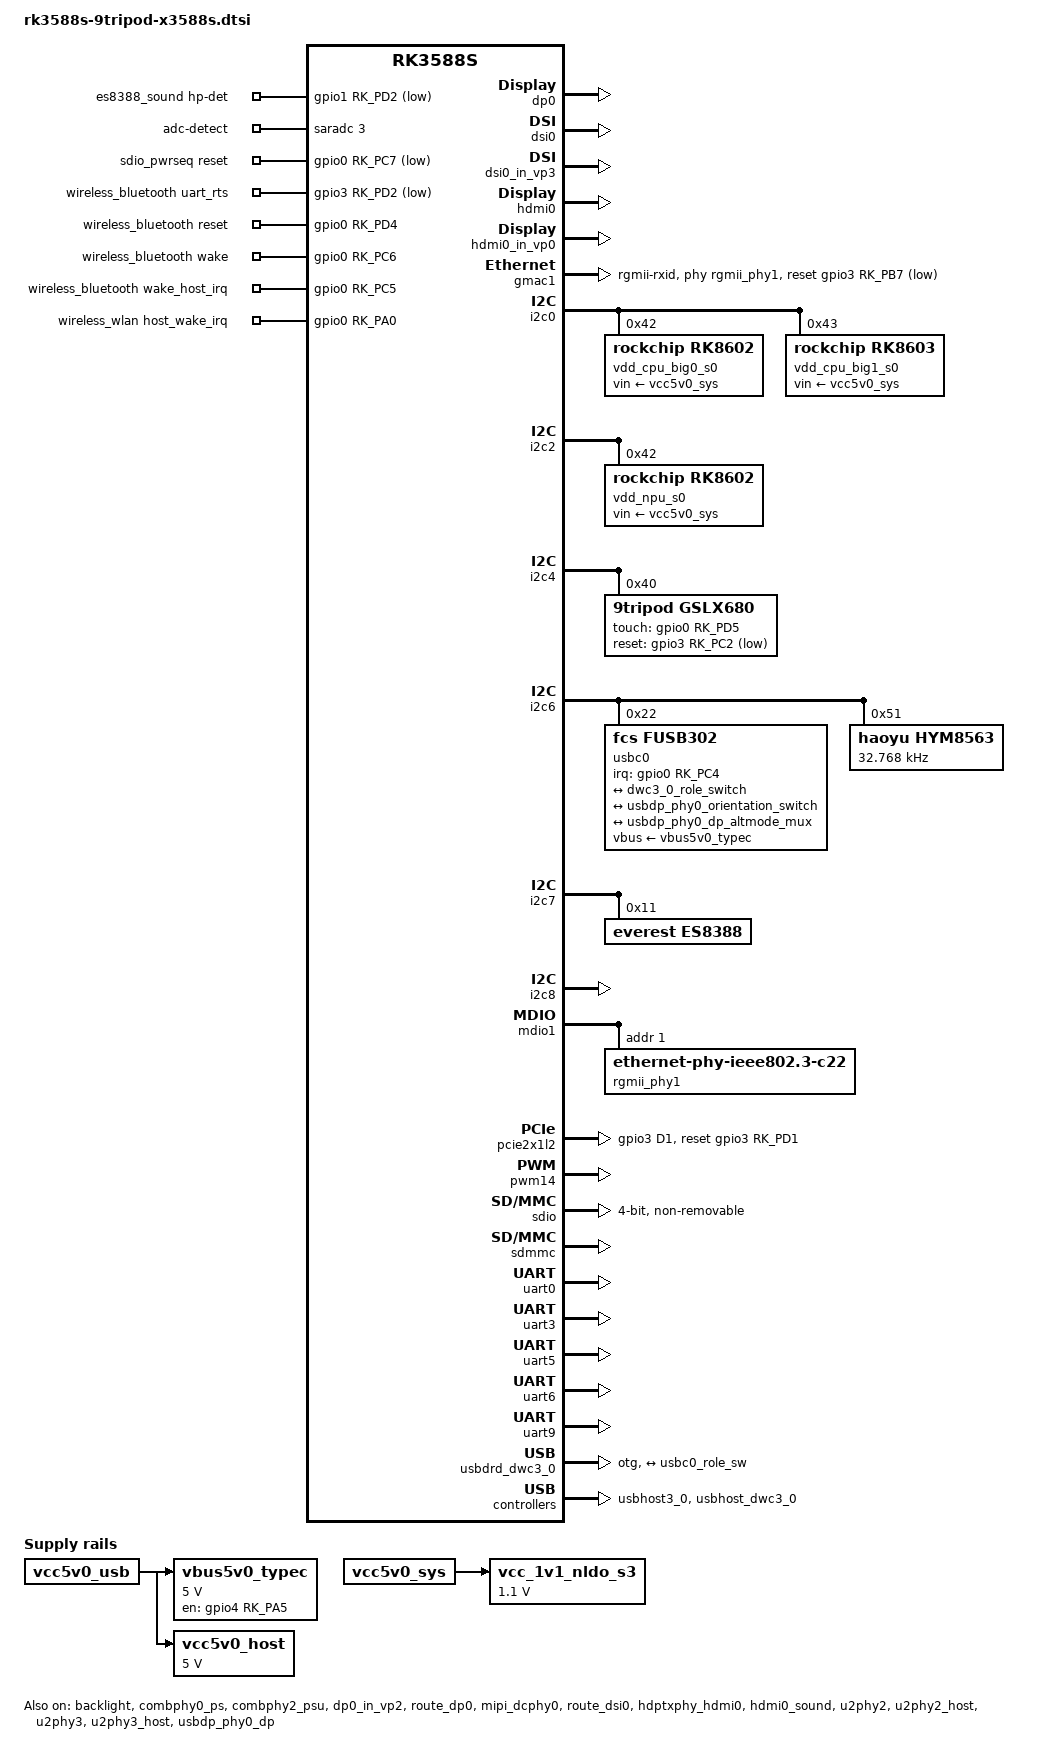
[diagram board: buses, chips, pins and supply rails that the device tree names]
// SPDX-License-Identifier: (GPL-2.0+ OR MIT)
/*
 * Copyright (c) 2021 Rockchip Electronics Co., Ltd.
 *
 */

#include "dt-bindings/usb/pd.h"
#include "rk3588s.dtsi"
#include "rk3588s-9tripod-x3588s-evb.dtsi"
#include "rk3588s-9tripod-x3588s-rk806-single.dtsi"

/ {
	es8388_sound: es8388-sound {
		status = "okay";
		compatible = "rockchip,multicodecs-card";
		rockchip,card-name = "rockchip-es8388";
		hp-det-gpio = <&gpio1 RK_PD2 GPIO_ACTIVE_LOW>;
		io-channels = <&saradc 3>;
		io-channel-names = "adc-detect";
		keyup-threshold-microvolt = <1800000>;
		poll-interval = <100>;
		//spk-con-gpio = <&gpio4 RK_PA5 GPIO_ACTIVE_HIGH>;
		//hp-con-gpio = <&gpio4 RK_PA4 GPIO_ACTIVE_HIGH>;
		rockchip,format = "i2s";
		rockchip,mclk-fs = <256>;
		rockchip,cpu = <&i2s0_8ch>;
		rockchip,codec = <&es8388>;
		rockchip,audio-routing =
			"Headphone", "LOUT1",
			"Headphone", "ROUT1",
			"Speaker", "LOUT2",
			"Speaker", "ROUT2",
			"Headphone", "Headphone Power",
			"Headphone", "Headphone Power",
			"Speaker", "Speaker Power",
			"Speaker", "Speaker Power",
			"LINPUT1", "Main Mic",
			"LINPUT2", "Main Mic",
			"RINPUT1", "Headset Mic",
			"RINPUT2", "Headset Mic";
		pinctrl-names = "default";
		pinctrl-0 = <&hp_det>;
		play-pause-key {
			label = "playpause";
			linux,code = <KEY_PLAYPAUSE>;
			press-threshold-microvolt = <2000>;
		};
	};

	vbus5v0_typec: vbus5v0-typec {
		compatible = "regulator-fixed";
		regulator-name = "vbus5v0_typec";
		regulator-min-microvolt = <5000000>;
		regulator-max-microvolt = <5000000>;
		enable-active-high;
		gpio = <&gpio4 RK_PA5 GPIO_ACTIVE_HIGH>;
		vin-supply = <&vcc5v0_usb>;
		pinctrl-names = "default";
		pinctrl-0 = <&typec5v_pwren>;
	};

	vcc5v0_host: vcc5v0-host {
		compatible = "regulator-fixed";
		regulator-name = "vcc5v0_host";
		regulator-boot-on;
		regulator-always-on;
		regulator-min-microvolt = <5000000>;
		regulator-max-microvolt = <5000000>;
		enable-active-high;
		//gpio = <&gpio1 RK_PB1 GPIO_ACTIVE_HIGH>;
		vin-supply = <&vcc5v0_usb>;
		//pinctrl-names = "default";
		//pinctrl-0 = <&vcc5v0_host_en>;
	};

	vcc_1v1_nldo_s3: vcc-1v1-nldo-s3 {
		compatible = "regulator-fixed";
		regulator-name = "vcc_1v1_nldo_s3";
		regulator-always-on;
		regulator-boot-on;
		regulator-min-microvolt = <1100000>;
		regulator-max-microvolt = <1100000>;
		vin-supply = <&vcc5v0_sys>;
	};

	sdio_pwrseq: sdio-pwrseq {
		compatible = "mmc-pwrseq-simple";
		clocks = <&hym8563>;
		clock-names = "ext_clock";
		pinctrl-names = "default";
		pinctrl-0 = <&wifi_enable_h>;
		/*
		 * On the module itself this is one of these (depending
		 * on the actual card populated):
		 * - SDIO_RESET_L_WL_REG_ON
		 * - PDN (power down when low)
		 */
		post-power-on-delay-ms = <200>;
		reset-gpios = <&gpio0 RK_PC7 GPIO_ACTIVE_LOW>;
	};

	wireless_bluetooth: wireless-bluetooth {
		compatible = "bluetooth-platdata";
		clocks = <&hym8563>;
		clock-names = "ext_clock";
		uart_rts_gpios = <&gpio3 RK_PD2 GPIO_ACTIVE_LOW>;
		pinctrl-names = "default", "rts_gpio";
		pinctrl-0 = <&uart9m2_rtsn>, <&bt_reset_gpio>, <&bt_wake_gpio>, <&bt_wake_host_irq>;
		pinctrl-1 = <&uart9_gpios>;
		BT,reset_gpio    = <&gpio0 RK_PD4 GPIO_ACTIVE_HIGH>;
		BT,wake_gpio     = <&gpio0 RK_PC6 GPIO_ACTIVE_HIGH>;
		BT,wake_host_irq = <&gpio0 RK_PC5 GPIO_ACTIVE_HIGH>;
		status = "okay";
	};

	wireless_wlan: wireless-wlan {
		compatible = "wlan-platdata";
		wifi_chip_type = "";
		pinctrl-names = "default";
		pinctrl-0 = <&wifi_host_wake_irq>;
		WIFI,host_wake_irq = <&gpio0 RK_PA0 GPIO_ACTIVE_HIGH>;
		status = "okay";
	};
};

&backlight {
	pwms = <&pwm14 0 25000 0>;
	enable-gpios = <&gpio3 RK_PC1 GPIO_ACTIVE_HIGH>;
	pinctrl-names = "default";
	pinctrl-0 = <&bl_en>;
	status = "okay";
};

&combphy0_ps {
	status = "okay";
};

&combphy2_psu {
	status = "okay";
};

&dp0 {
	//pinctrl-names = "default";
	//pinctrl-0 = <&dp0_hpd>;
	//hpd-gpios = <&gpio1 RK_PD5 GPIO_ACTIVE_HIGH>;
	status = "okay";
};

&dp0_in_vp2 {
	status = "okay";
};

&route_dp0 {
	status = "okay";
	connect = <&vp2_out_dp0>;
};

/*
 * mipi_dcphy0 needs to be enabled
 * when dsi0 is enabled
 */
&dsi0 {
	status = "okay";
};

&dsi0_in_vp2 {
	status = "disabled";
};

&dsi0_in_vp3 {
	status = "okay";
};

&dsi0_panel {
	status = "okay";
	reset-gpios = <&gpio1 RK_PB0 GPIO_ACTIVE_LOW>;
	pinctrl-names = "default";
	pinctrl-0 = <&lcd_rst_gpio>;
};

&mipi_dcphy0 {
	status = "okay";
};

&route_dsi0 {
	status = "okay";
	connect = <&vp3_out_dsi0>;
};

/*
 * mipi_dcphy1 needs to be enabled
 * when dsi1 is enabled
 */
&dsi1 {
	status = "disabled";
};

&dsi1_in_vp2 {
	status = "disabled";
};

&dsi1_in_vp3 {
	status = "disabled";
};

&dsi1_panel {
	status = "disabled";
	reset-gpios = <&gpio1 RK_PB0 GPIO_ACTIVE_LOW>;
	pinctrl-names = "default";
	pinctrl-0 = <&lcd_rst_gpio>;
};

&mipi_dcphy1 {
	status = "disabled";
};

&route_dsi1 {
	status = "disabled";
	connect = <&vp3_out_dsi1>;
};

&hdptxphy_hdmi0 {
	status = "okay";
};

&hdmi0 {
	enable-gpios = <&gpio4 RK_PB6 GPIO_ACTIVE_HIGH>;
	status = "okay";
};

&hdmi0_in_vp0 {
	status = "okay";
};

&hdmi0_sound {
	status = "okay";
};

// ethernet
&gmac1 {
    phy-mode = "rgmii-rxid";
    clock_in_out = "output";

    snps,reset-gpio = <&gpio3 RK_PB7 GPIO_ACTIVE_LOW>;
    snps,reset-active-low;
	/* Reset time is 20ms, 100ms for rtl8211f */
    snps,reset-delays-us = <0 20000 100000>;
    pinctrl-names = "default";
    pinctrl-0 = <&gmac1_miim
        &gmac1_tx_bus2
        &gmac1_rx_bus2
        &gmac1_rgmii_clk
        &gmac1_rgmii_bus
        >;
    tx_delay = <0x3a>;
    rx_delay = <0x00>;
    phy-handle = <&rgmii_phy1>;
    status = "okay";
};

&i2c0 {
	status = "okay";
	pinctrl-names = "default";
	pinctrl-0 = <&i2c0m2_xfer>;

	vdd_cpu_big0_s0: vdd_cpu_big0_mem_s0: rk8602@42 {
		compatible = "rockchip,rk8602";
		reg = <0x42>;
		vin-supply = <&vcc5v0_sys>;
		regulator-compatible = "rk860x-reg";
		regulator-name = "vdd_cpu_big0_s0";
		regulator-min-microvolt = <550000>;
		regulator-max-microvolt = <1050000>;
		regulator-ramp-delay = <2300>;
		rockchip,suspend-voltage-selector = <1>;
		regulator-boot-on;
		regulator-always-on;
		regulator-state-mem {
			regulator-off-in-suspend;
		};
	};

	vdd_cpu_big1_s0: vdd_cpu_big1_mem_s0: rk8603@43 {
		compatible = "rockchip,rk8603";
		reg = <0x43>;
		vin-supply = <&vcc5v0_sys>;
		regulator-compatible = "rk860x-reg";
		regulator-name = "vdd_cpu_big1_s0";
		regulator-min-microvolt = <550000>;
		regulator-max-microvolt = <1050000>;
		regulator-ramp-delay = <2300>;
		rockchip,suspend-voltage-selector = <1>;
		regulator-boot-on;
		regulator-always-on;
		regulator-state-mem {
			regulator-off-in-suspend;
		};
	};
};

&i2c2 {
	status = "okay";

	vdd_npu_s0: vdd_npu_mem_s0: rk8602@42 {
		compatible = "rockchip,rk8602";
		reg = <0x42>;
		vin-supply = <&vcc5v0_sys>;
		regulator-compatible = "rk860x-reg";
		regulator-name = "vdd_npu_s0";
		regulator-min-microvolt = <550000>;
		regulator-max-microvolt = <950000>;
		regulator-ramp-delay = <2300>;
		rockchip,suspend-voltage-selector = <1>;
		regulator-boot-on;
		regulator-always-on;
		regulator-state-mem {
			regulator-off-in-suspend;
		};
	};
};

&i2c4 {
	status = "okay";
	pinctrl-names = "default";
	pinctrl-0 = <&i2c4m3_xfer>;

	gslx680@40 {
		compatible = "9tripod,gslx680";
		reg = <0x40>;
		pinctrl-names = "default";
		pinctrl-0 = <&tp_irq_gpio &tp_rst_gpio>;
		touch-gpio = <&gpio0 RK_PD5 IRQ_TYPE_EDGE_RISING>;
		reset-gpio = <&gpio3 RK_PC2 GPIO_ACTIVE_LOW>;
		max-x = <1024>;
		max-y = <600>;
		status = "okay";
	};
};

&i2c6 {
	status = "okay";
	pinctrl-names = "default";
	pinctrl-0 = <&i2c6m3_xfer>;

	usbc0: fusb302@22 {
		compatible = "fcs,fusb302";
		reg = <0x22>;
		interrupt-parent = <&gpio0>;
		interrupts = <RK_PC4 IRQ_TYPE_LEVEL_LOW>;
		pinctrl-names = "default";
		pinctrl-0 = <&usbc0_int>;
		vbus-supply = <&vbus5v0_typec>;
		status = "okay";

		ports {
			#address-cells = <1>;
			#size-cells = <0>;

			port@0 {
				reg = <0>;
				usbc0_role_sw: endpoint@0 {
					remote-endpoint = <&dwc3_0_role_switch>;
				};
			};
		};

		usb_con: connector {
			compatible = "usb-c-connector";
			label = "USB-C";
			data-role = "dual";
			power-role = "dual";
			try-power-role = "sink";
			op-sink-microwatt = <1000000>;
			sink-pdos =
				<PDO_FIXED(5000, 1000, PDO_FIXED_USB_COMM)>;
			source-pdos =
				<PDO_FIXED(5000, 3000, PDO_FIXED_USB_COMM)>;

			altmodes {
				#address-cells = <1>;
				#size-cells = <0>;

				altmode@0 {
					reg = <0>;
					svid = <0xff01>;
					vdo = <0xffffffff>;
				};
			};

			ports {
				#address-cells = <1>;
				#size-cells = <0>;

				port@0 {
					reg = <0>;
					usbc0_orien_sw: endpoint {
						remote-endpoint = <&usbdp_phy0_orientation_switch>;
					};
				};

				port@1 {
					reg = <1>;
					dp_altmode_mux: endpoint {
						remote-endpoint = <&usbdp_phy0_dp_altmode_mux>;
					};
				};
			};
		};
	};

	hym8563: hym8563@51 {
		compatible = "haoyu,hym8563";
		reg = <0x51>;
		#clock-cells = <0>;
		clock-frequency = <32768>;
		clock-output-names = "hym8563";
		//pinctrl-names = "default";
		//pinctrl-0 = <&hym8563_int>;
		//interrupt-parent = <&gpio0>;
		//interrupts = <RK_PB0 IRQ_TYPE_LEVEL_LOW>;
		//wakeup-source;
		status = "okay";
	};
};

&i2c7 {
	status = "okay";
	pinctrl-names = "default";
	pinctrl-0 = <&i2c7m0_xfer>;
	
	es8388: es8388@11 {
		status = "okay";
		#sound-dai-cells = <0>;
		compatible = "everest,es8388", "everest,es8323";
		reg = <0x11>;
		clocks = <&cru I2S0_8CH_MCLKOUT>;
		clock-names = "mclk";
		pinctrl-names = "default";
		pinctrl-0 = <&i2s0_mclk>;
	};
};

&i2c8 {
	status = "okay";
	pinctrl-names = "default";
	pinctrl-0 = <&i2c8m2_xfer>;

};

&mdio1 {
    rgmii_phy1: phy@1 {
        compatible = "ethernet-phy-ieee802.3-c22";
        reg = <0x1>;
    };
};

&pcie2x1l2 {
	reset-gpios = <&gpio3 RK_PD1 GPIO_ACTIVE_HIGH>;
	rockchip,skip-scan-in-resume;
	pinctrl-names = "default";
	pinctrl-0 = <&rtl8111_isolate>;
	status = "okay";
};

&pinctrl {
	headphone {
		hp_det: hp-det {
			rockchip,pins = <1 RK_PD2 RK_FUNC_GPIO &pcfg_pull_down>;
		};
	};

	sdio-pwrseq {
		wifi_enable_h: wifi-enable-h {
			rockchip,pins = <0 RK_PC7 RK_FUNC_GPIO &pcfg_pull_up>;
		};
	};

	hym8563 {
		hym8563_int: hym8563-int {
			rockchip,pins = <0 RK_PB0 RK_FUNC_GPIO &pcfg_pull_up>;
		};
	};

	lcd {
		lcd_rst_gpio: lcd-rst-gpio {
			rockchip,pins = <1 RK_PB0 RK_FUNC_GPIO &pcfg_pull_none>;
		};
	};
	backlight {
		bl_en: bl-en {
			rockchip,pins = <3 RK_PC1 RK_FUNC_GPIO &pcfg_pull_up>;
		};
	};

	tp_irq {
		tp_irq_gpio: tp-irq-gpio {
			rockchip,pins = <0 RK_PD5 RK_FUNC_GPIO &pcfg_pull_up>;
		};
		tp_rst_gpio: tp-rst-gpio {
			rockchip,pins = <3 RK_PC2 RK_FUNC_GPIO &pcfg_pull_up>;
		};
	};

	dp {
		dp0_hpd: dp0-hpd {
			rockchip,pins = <1 RK_PD5 RK_FUNC_GPIO &pcfg_pull_none>;
		};
	};

	usb {
		//vcc5v0_host_en: vcc5v0-host-en {
		//	rockchip,pins = <1 RK_PB1 RK_FUNC_GPIO &pcfg_pull_none>;
		//};
	};

	usb-typec {
		usbc0_int: usbc0-int {
			rockchip,pins = <0 RK_PC4 RK_FUNC_GPIO &pcfg_pull_up>;
		};

		typec5v_pwren: typec5v-pwren {
			rockchip,pins = <4 RK_PA5 RK_FUNC_GPIO &pcfg_pull_none>;
		};
	};
	
	rtl8111 {
		rtl8111_isolate: rtl8111-isolate {
			rockchip,pins = <3 RK_PD1 RK_FUNC_GPIO &pcfg_pull_up>;
		};
	};
	
	wireless-bluetooth {
		uart9_gpios: uart9-gpios {
			rockchip,pins = <3 RK_PD2 RK_FUNC_GPIO &pcfg_pull_none>;
		};

		bt_reset_gpio: bt-reset-gpio {
			rockchip,pins = <0 RK_PD4 RK_FUNC_GPIO &pcfg_pull_none>;
		};

		bt_wake_gpio: bt-wake-gpio {
			rockchip,pins = <0 RK_PC6 RK_FUNC_GPIO &pcfg_pull_none>;
		};

		bt_wake_host_irq: bt-wake-host-irq {
			rockchip,pins = <0 RK_PC5 RK_FUNC_GPIO &pcfg_pull_down>;
		};
	};

	wireless-wlan {
		wifi_host_wake_irq: wifi-host-wake-irq {
			rockchip,pins = <0 RK_PA0 RK_FUNC_GPIO &pcfg_pull_down>;
		};

		wifi_poweren_gpio: wifi-poweren-gpio {
			rockchip,pins = <0 RK_PC7 RK_FUNC_GPIO &pcfg_pull_up>;
		};
	};
};

&pwm14 {
	status = "okay";
	pinctrl-names = "active";
	pinctrl-0 = <&pwm14m1_pins>;
};

&sdio {
	max-frequency = <100000000>;
	no-sd;
	no-mmc;
	bus-width = <4>;
	disable-wp;
	cap-sd-highspeed;
	cap-sdio-irq;
	keep-power-in-suspend;
	mmc-pwrseq = <&sdio_pwrseq>;
	non-removable;
	pinctrl-names = "default";
	pinctrl-0 = <&sdiom1_pins>;
	sd-uhs-sdr104;
	status = "okay";
};

&sdmmc {
	status = "okay";
	//cd-inverted;
	//cd-gpios = <&gpio0 RK_PA4 GPIO_ACTIVE_HIGH>;
};

&spi2 {
	pinctrl-names = "default";
	pinctrl-0 = <&spi2m2_cs0 &spi2m2_pins>;
	num-cs = <1>;
};

&uart0 {
	status = "okay";
	pinctrl-names = "default";
	pinctrl-0 = <&uart0m2_xfer>;
};

&uart3 {
	status = "okay";
	pinctrl-names = "default";
	pinctrl-0 = <&uart3m0_xfer>;
};

&uart5 {
	status = "okay";
	pinctrl-names = "default";
	pinctrl-0 = <&uart5m1_xfer>;
};

&uart6 {
	status = "okay";
	pinctrl-names = "default";
	pinctrl-0 = <&uart6m1_xfer>;
};

&uart7 {
	status = "disabled";
	pinctrl-names = "default";
	pinctrl-0 = <&uart7m2_xfer>;
};

&uart9 {
	status = "okay";
	pinctrl-names = "default";
	pinctrl-0 = <&uart9m2_xfer &uart9m2_ctsn>;
};

&u2phy0_otg {
	rockchip,typec-vbus-det;
};

&u2phy2 {
	status = "okay";
};

&u2phy2_host {
	status = "okay";
};

&u2phy3 {
	status = "okay";
};

&u2phy3_host {
	status = "okay";
};

&usbdp_phy0 {
	orientation-switch;
	svid = <0xff01>;
	sbu1-dc-gpios = <&gpio4 RK_PA0 GPIO_ACTIVE_HIGH>;
	sbu2-dc-gpios = <&gpio4 RK_PA1 GPIO_ACTIVE_HIGH>;
	rockchip,dp-lane-mux = <2 3>;

	port {
		#address-cells = <1>;
		#size-cells = <0>;
		usbdp_phy0_orientation_switch: endpoint@0 {
			reg = <0>;
			remote-endpoint = <&usbc0_orien_sw>;
		};

		usbdp_phy0_dp_altmode_mux: endpoint@1 {
			reg = <1>;
			remote-endpoint = <&dp_altmode_mux>;
		};
	};
};

&usbdp_phy0_dp {
	status = "okay";
};

&usbdrd_dwc3_0 {
	dr_mode = "otg";
	usb-role-switch;
	port {
		#address-cells = <1>;
		#size-cells = <0>;
		dwc3_0_role_switch: endpoint@0 {
			reg = <0>;
			remote-endpoint = <&usbc0_role_sw>;
		};
	};
};

&usbhost3_0 {
	status = "okay";
};

&usbhost_dwc3_0 {
	status = "okay";
};
